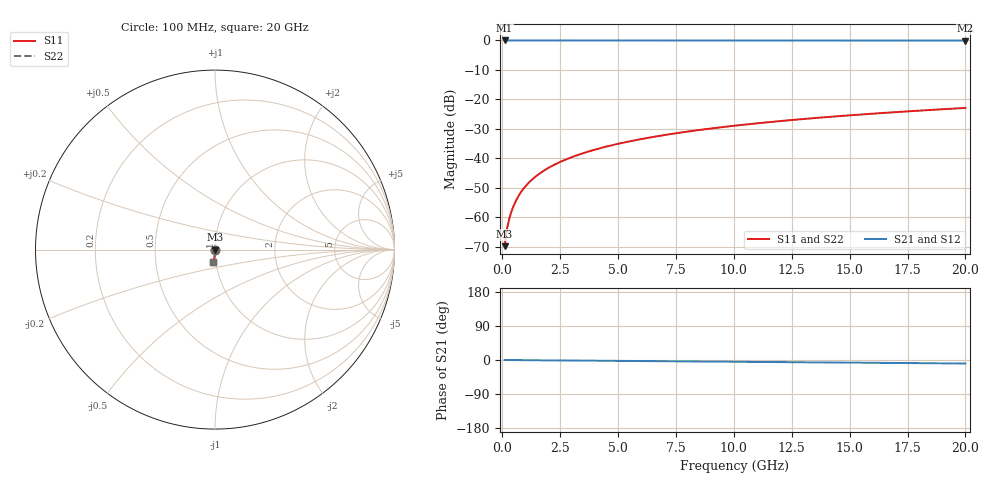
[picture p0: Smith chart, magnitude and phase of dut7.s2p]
! Touchstone file exported from HFSS 2026.1.0
!  File:  C:/ffzhzh/LocalFiles/Ansys_Project_Files/temp_test_TSV_7_1782978115_45568.aedt
!  Generated:  03:43:12 PM Jul  2, 2026
!  Design:  TSV
!  Project:  temp_test_TSV_7_1782978115_45568
! Variables:
!  h_bsmrdl = 2um
!  h_ox = 20um
!  h_rdl = 5um
!  h_sub = 88.25um
!  h_tmrdl = 5um
!  h_tsv = 88.25um
!  h_via = 3um
!  l_bsmrdl = 300um
!  l_sub = 424.18um
!  l_tmrdl = 200um
!  m_sub = 200um
!  pitch = 33.08um
!  r_tsv = 12.09um
!  s_tmrdl = 10um
!  w_bsmrdl = 18um
!  w_sub = 500um
!  w_tmrdl = 12um
!  x_tsv_center1 = 206um
!  x_tsv_center2 = 524um
!  x_tsv_center3 = 736um
!  x_tsv_center4 = 1054um
!  x_tsv_center5 = 1266um
!  x_tsv_center6 = 1584um
# GHz S MA R 50.000000
! Terminal data exported
! Port[1] = TSV1_1_T1
! Port[2] = TSV1_1_T2
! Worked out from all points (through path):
!   200 points, 100 MHz to 20 GHz, reference 50 ohm
!   highest |S21| = 0.00 dB at 100 MHz (marker M1); lowest = 0.0 dB at 20 GHz (marker M2)
!   group delay of S21, straight-line fit = 1.28 ps
!   lowest |S11| = -69.8 dB at 100 MHz (marker M3), VSWR 1.00, Z = 50 - j0.0305 ohm
!   |S11| at or under -10 dB: start of sweep to end of sweep
!   |S22| runs from -69.8 to -22.9 dB; largest |S21 - S12| = 3.1e-15
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0.1  0.0003253 -69.5  0.9999 -0.0  0.9999 -0.0  0.0003253 -69.5
! Gamma 0 0 0 0
! Port Impedance 50 0 50 0
0.2  0.0006285 -77.9  0.9999 -0.1  0.9999 -0.1  0.0006285 -77.9
0.3  0.000946 -80.4  0.9998 -0.1  0.9998 -0.1  0.000946 -80.4
0.4  0.001274 -81.6  0.9998 -0.2  0.9998 -0.2  0.001274 -81.6
0.5  0.001612 -82.3  0.9998 -0.2  0.9998 -0.2  0.001612 -82.3
0.7  0.002306 -83.4  0.9997 -0.3  0.9997 -0.3  0.002306 -83.4
0.8  0.002658 -83.8  0.9997 -0.4  0.9997 -0.4  0.002658 -83.8
1  0.003369 -84.6  0.9996 -0.5  0.9996 -0.5  0.003369 -84.6
1.2  0.004083 -85.2  0.9996 -0.6  0.9996 -0.6  0.004083 -85.2
1.4  0.004797 -85.8  0.9996 -0.7  0.9996 -0.7  0.004797 -85.8
1.7  0.005869 -86.5  0.9995 -0.8  0.9995 -0.8  0.005869 -86.5
2  0.00694 -87.1  0.9995 -0.9  0.9995 -0.9  0.00694 -87.1
2.7  0.009439 -88.1  0.9994 -1.3  0.9994 -1.3  0.009439 -88.1
3.5  0.0123 -88.9  0.9993 -1.6  0.9993 -1.6  0.0123 -88.9
4.2  0.01481 -89.4  0.9992 -2.0  0.9992 -2.0  0.01481 -89.4
5  0.01769 -90.0  0.9991 -2.3  0.9991 -2.3  0.01769 -90.0
6.8  0.02418 -91.2  0.9989 -3.2  0.9989 -3.2  0.02418 -91.2
8.3  0.0296 -92.0  0.9986 -3.9  0.9986 -3.9  0.0296 -92.0
10.1  0.03611 -93.0  0.9983 -4.7  0.9983 -4.7  0.03611 -93.0
13.4  0.04802 -94.8  0.9977 -6.2  0.9977 -6.2  0.04802 -94.8
16.7  0.05991 -96.4  0.9969 -7.7  0.9969 -7.7  0.05991 -96.4
20  0.07177 -98.1  0.9959 -9.2  0.9959 -9.2  0.07177 -98.1
